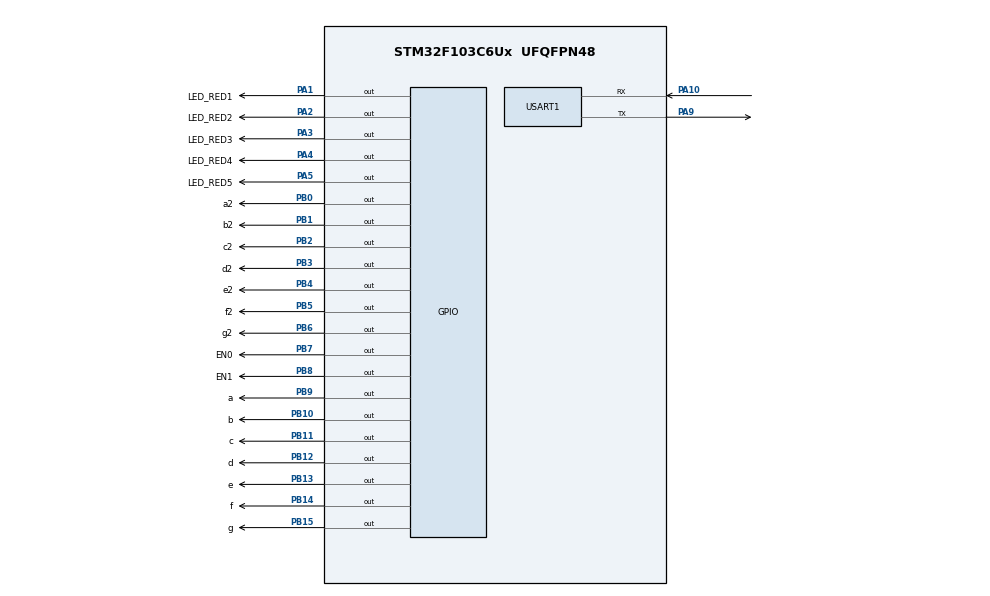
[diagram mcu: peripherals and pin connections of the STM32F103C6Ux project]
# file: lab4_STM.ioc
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Mcu.Family=STM32F1
Mcu.Name=STM32F103C6Ux
Mcu.Package=UFQFPN48
NVIC.PriorityGroup=NVIC_PRIORITYGROUP_4
NVIC.TIM2_IRQn=true\:0\:0\:false\:false\:true\:true\:true
PA1.GPIO_Label=LED_RED1
PA1.Signal=GPIO_Output
PA10.Mode=Asynchronous
PA10.Signal=USART1_RX
PA2.GPIO_Label=LED_RED2
PA2.Signal=GPIO_Output
PA3.GPIO_Label=LED_RED3
PA3.Signal=GPIO_Output
PA4.GPIO_Label=LED_RED4
PA4.Signal=GPIO_Output
PA5.GPIO_Label=LED_RED5
PA5.Signal=GPIO_Output
PA9.Mode=Asynchronous
PA9.Signal=USART1_TX
PB0.GPIO_Label=a2
PB0.Signal=GPIO_Output
PB1.GPIO_Label=b2
PB1.Signal=GPIO_Output
PB10.GPIO_Label=b
PB10.Signal=GPIO_Output
PB11.GPIO_Label=c
PB11.Signal=GPIO_Output
PB12.GPIO_Label=d
PB12.Signal=GPIO_Output
PB13.GPIO_Label=e
PB13.Signal=GPIO_Output
PB14.GPIO_Label=f
PB14.Signal=GPIO_Output
PB15.GPIO_Label=g
PB15.Signal=GPIO_Output
PB2.GPIO_Label=c2
PB2.Signal=GPIO_Output
PB3.GPIO_Label=d2
PB3.Signal=GPIO_Output
PB4.GPIO_Label=e2
PB4.Signal=GPIO_Output
PB5.GPIO_Label=f2
PB5.Signal=GPIO_Output
PB6.GPIO_Label=g2
PB6.Signal=GPIO_Output
PB7.GPIO_Label=EN0
PB7.Signal=GPIO_Output
PB8.GPIO_Label=EN1
PB8.Signal=GPIO_Output
PB9.GPIO_Label=a
PB9.Signal=GPIO_Output
ProjectManager.HeapSize=0x200
ProjectManager.StackSize=0x400
ProjectManager.TargetToolchain=STM32CubeIDE
RCC.APB1Freq_Value=8000000
RCC.APB2Freq_Value=8000000
TIM2.Period=10
TIM2.Prescaler=7999
USART1.VirtualMode=VM_ASYNC
VP_SYS_VS_ND.Mode=No_Debug
VP_TIM2_VS_ClockSourceINT.Mode=Internal
board=custom

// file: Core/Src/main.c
/* USER CODE BEGIN Header */
/**
  ******************************************************************************
  * @file           : main.c
  * @brief          : Main program body
  ******************************************************************************
  * @attention
  *
  * <h2><center>&copy; Copyright (c) 2022 STMicroelectronics.
  * All rights reserved.</center></h2>
  *
  * This software component is licensed by ST under BSD 3-Clause license,
  * the "License"; You may not use this file except in compliance with the
  * License. You may obtain a copy of the License at:
  *                        opensource.org/licenses/BSD-3-Clause
  *
  ******************************************************************************
  */
/* USER CODE END Header */
#include "main.h"

/* USER CODE BEGIN Includes */
#include "scheduler.h"
#include "software_timer.h"
#include "led_control.h"
#include "taskFunctions.h"
#include "stdio.h"
#include <stdlib.h>
#include "global.h"
/* USER CODE END Includes */

TIM_HandleTypeDef htim2;

UART_HandleTypeDef huart1;

void SystemClock_Config(void);
static void MX_GPIO_Init(void);
static void MX_TIM2_Init(void);
static void MX_USART1_UART_Init(void);

int main(void)
{
  /* USER CODE BEGIN 1 */
//	uint8_t var[] = {"Hello World\r\n"};
  /* USER CODE END 1 */

  /* MCU Configuration--------------------------------------------------------*/

  /* Reset of all peripherals, Initializes the Flash interface and the Systick. */
  HAL_Init();

  /* USER CODE BEGIN Init */
  SCH_Init();
  /* USER CODE END Init */

  /* Configure the system clock */
  SystemClock_Config();

  /* Initialize all configured peripherals */
  MX_GPIO_Init();
  MX_TIM2_Init();
  MX_USART1_UART_Init();
  /* USER CODE BEGIN 2 */
  HAL_TIM_Base_Start_IT(&htim2);
  /* USER CODE END 2 */
  /* Infinite loop */
  /* USER CODE BEGIN WHILE */

  int task1Index = SCH_Add_Task(task1, 100, 500);
  int task2Index = SCH_Add_Task(task2, 200, 500);
  int task3Index = SCH_Add_Task(task3, 300, 500);
  int task4Index = SCH_Add_Task(task4, 400, 500);
  int task5Index = SCH_Add_Task(task5, 500, 0); //one-shot task

  setTimer1(1000);
  while (1)
  {
	  SCH_Dispatch_Tasks();
	  if (timer1_flag == 1) {
		  setTimer1(1000);
		  time--;
		  if (time == 0) {
			  time = numberOfCurrentTasks + 1;
		  }
	  }
    /* USER CODE END WHILE */

  }
}

void SystemClock_Config(void)
{
  RCC_OscInitTypeDef RCC_OscInitStruct = {0};
  RCC_ClkInitTypeDef RCC_ClkInitStruct = {0};

  /** Initializes the RCC Oscillators according to the specified parameters
  * in the RCC_OscInitTypeDef structure.
  */
  RCC_OscInitStruct.OscillatorType = RCC_OSCILLATORTYPE_HSI;
  RCC_OscInitStruct.HSIState = RCC_HSI_ON;
  RCC_OscInitStruct.HSICalibrationValue = RCC_HSICALIBRATION_DEFAULT;
  RCC_OscInitStruct.PLL.PLLState = RCC_PLL_NONE;
  if (HAL_RCC_OscConfig(&RCC_OscInitStruct) != HAL_OK)
  {
    Error_Handler();
  }
  /** Initializes the CPU, AHB and APB buses clocks
  */
  RCC_ClkInitStruct.ClockType = RCC_CLOCKTYPE_HCLK|RCC_CLOCKTYPE_SYSCLK
                              |RCC_CLOCKTYPE_PCLK1|RCC_CLOCKTYPE_PCLK2;
  RCC_ClkInitStruct.SYSCLKSource = RCC_SYSCLKSOURCE_HSI;
  RCC_ClkInitStruct.AHBCLKDivider = RCC_SYSCLK_DIV1;
  RCC_ClkInitStruct.APB1CLKDivider = RCC_HCLK_DIV1;
  RCC_ClkInitStruct.APB2CLKDivider = RCC_HCLK_DIV1;

  if (HAL_RCC_ClockConfig(&RCC_ClkInitStruct, FLASH_LATENCY_0) != HAL_OK)
  {
    Error_Handler();
  }
}

static void MX_TIM2_Init(void)
{

  TIM_ClockConfigTypeDef sClockSourceConfig = {0};
  TIM_MasterConfigTypeDef sMasterConfig = {0};

  htim2.Instance = TIM2;
  htim2.Init.Prescaler = 7999;
  htim2.Init.CounterMode = TIM_COUNTERMODE_UP;
  htim2.Init.Period = 10;
  htim2.Init.ClockDivision = TIM_CLOCKDIVISION_DIV1;
  htim2.Init.AutoReloadPreload = TIM_AUTORELOAD_PRELOAD_DISABLE;
  if (HAL_TIM_Base_Init(&htim2) != HAL_OK)
  {
    Error_Handler();
  }
  sClockSourceConfig.ClockSource = TIM_CLOCKSOURCE_INTERNAL;
  if (HAL_TIM_ConfigClockSource(&htim2, &sClockSourceConfig) != HAL_OK)
  {
    Error_Handler();
  }
  sMasterConfig.MasterOutputTrigger = TIM_TRGO_RESET;
  sMasterConfig.MasterSlaveMode = TIM_MASTERSLAVEMODE_DISABLE;
  if (HAL_TIMEx_MasterConfigSynchronization(&htim2, &sMasterConfig) != HAL_OK)
  {
    Error_Handler();
  }

}

static void MX_USART1_UART_Init(void)
{

  huart1.Instance = USART1;
  huart1.Init.BaudRate = 115200;
  huart1.Init.WordLength = UART_WORDLENGTH_8B;
  huart1.Init.StopBits = UART_STOPBITS_1;
  huart1.Init.Parity = UART_PARITY_NONE;
  huart1.Init.Mode = UART_MODE_TX_RX;
  huart1.Init.HwFlowCtl = UART_HWCONTROL_NONE;
  huart1.Init.OverSampling = UART_OVERSAMPLING_16;
  if (HAL_UART_Init(&huart1) != HAL_OK)
  {
    Error_Handler();
  }

}

static void MX_GPIO_Init(void)
{
  GPIO_InitTypeDef GPIO_InitStruct = {0};

  /* GPIO Ports Clock Enable */
  __HAL_RCC_GPIOA_CLK_ENABLE();
  __HAL_RCC_GPIOB_CLK_ENABLE();

  /*Configure GPIO pin Output Level */
  HAL_GPIO_WritePin(GPIOA, LED_RED1_Pin|LED_RED2_Pin|LED_RED3_Pin|LED_RED4_Pin
                          |LED_RED5_Pin, GPIO_PIN_RESET);

  /*Configure GPIO pin Output Level */
  HAL_GPIO_WritePin(GPIOB, a2_Pin|b2_Pin|c2_Pin|b_Pin
                          |c_Pin|d_Pin|e_Pin|f_Pin
                          |g_Pin|d2_Pin|e2_Pin|f2_Pin
                          |g2_Pin|EN0_Pin|EN1_Pin|a_Pin, GPIO_PIN_RESET);

  /*Configure GPIO pins : LED_RED1_Pin LED_RED2_Pin LED_RED3_Pin LED_RED4_Pin
                           LED_RED5_Pin */
  GPIO_InitStruct.Pin = LED_RED1_Pin|LED_RED2_Pin|LED_RED3_Pin|LED_RED4_Pin
                          |LED_RED5_Pin;
  GPIO_InitStruct.Mode = GPIO_MODE_OUTPUT_PP;
  GPIO_InitStruct.Pull = GPIO_NOPULL;
  GPIO_InitStruct.Speed = GPIO_SPEED_FREQ_LOW;
  HAL_GPIO_Init(GPIOA, &GPIO_InitStruct);

  /*Configure GPIO pins : a2_Pin b2_Pin c2_Pin b_Pin
                           c_Pin d_Pin e_Pin f_Pin
                           g_Pin d2_Pin e2_Pin f2_Pin
                           g2_Pin EN0_Pin EN1_Pin a_Pin */
  GPIO_InitStruct.Pin = a2_Pin|b2_Pin|c2_Pin|b_Pin
                          |c_Pin|d_Pin|e_Pin|f_Pin
                          |g_Pin|d2_Pin|e2_Pin|f2_Pin
                          |g2_Pin|EN0_Pin|EN1_Pin|a_Pin;
  GPIO_InitStruct.Mode = GPIO_MODE_OUTPUT_PP;
  GPIO_InitStruct.Pull = GPIO_NOPULL;
  GPIO_InitStruct.Speed = GPIO_SPEED_FREQ_LOW;
  HAL_GPIO_Init(GPIOB, &GPIO_InitStruct);

}

/* USER CODE BEGIN 4 */

uint8_t buffer[19];

int get_time() {
	return time;
}
int timeStr = 0; //init
void HAL_TIM_PeriodElapsedCallback ( TIM_HandleTypeDef * htim ){
	timerRun();

	SCH_Update();

	timeStr = get_time();
	sprintf((char*)buffer, "Time remaining = %d\r\n", timeStr);
	HAL_UART_Transmit(&huart1, &buffer[0], 19, 1000);
}
/* USER CODE END 4 */

void Error_Handler(void)
{
  __disable_irq();
  while (1)
  {
  }
}

/************************ (C) COPYRIGHT STMicroelectronics *****END OF FILE****/
